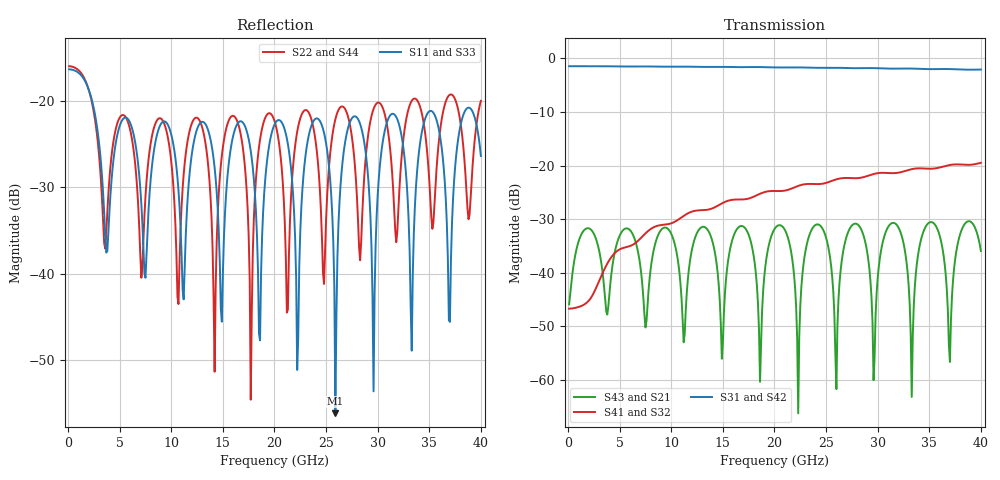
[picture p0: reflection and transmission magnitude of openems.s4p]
! T_ts6_broadside_o0: Broadside: In2 over In3 across the 0.93 mm core, lateral offset 0 mm, 20 mm
! stackup: ThunderScope Rev5.3 6-layer (FR408HR / FR-4, from the board file)
! ports: 1 near A, 2 near B, 3 far A, 4 far B
! openEMS 0.37.0, staircase, fine mesh (dfine 0.0175 mm), 969150 cells
# Hz S RI R 50
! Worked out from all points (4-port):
!   400 points, 100 MHz to 40 GHz, reference 50 ohm
!   strongest paths, dB at 100 MHz, 10.1 GHz, 20.1 GHz, 30.1 GHz, 40 GHz:
!     S31: -1.5, -1.5, -1.7, -1.8, -2.1
!     S42: -1.5, -1.6, -1.8, -2.1, -2.6
!     S41: -46.7, -30.7, -24.8, -21.4, -19.5
!     S32: -46.7, -30.7, -24.8, -21.4, -19.5
!     S43: -45.9, -33.2, -31.6, -39.0, -36.0
!     S21: -45.9, -33.2, -31.6, -39.0, -36.0
!   lowest |S11| = -56.3 dB at 25.9 GHz (marker M1), VSWR 1.00, Z = 50.1 + j0.141 ohm
!   |S11| at or under -10 dB: start of sweep to end of sweep
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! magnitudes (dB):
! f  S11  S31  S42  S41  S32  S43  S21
! 100 MHz  -16.3  -1.5  -1.5  -46.7  -46.7  -45.9  -45.9
! 16.3 GHz  -22.8  -1.6  -1.7  -26.3  -26.3  -32.1  -32.1
! 17.7 GHz  -25.8  -1.6  -1.7  -26.0  -26.0  -34.2  -34.2
! 25.9 GHz  -56.3  -1.7  -2.0  -22.6  -22.6  -55.2  -55.2
! 27.4 GHz  -22.2  -1.8  -2.0  -22.4  -22.4  -31.4  -31.4
! 29.6 GHz  -53.7  -1.8  -2.1  -21.6  -21.6  -60.1  -60.1
! 40 GHz  -26.3  -2.1  -2.6  -19.5  -19.5  -36.0  -36.0
